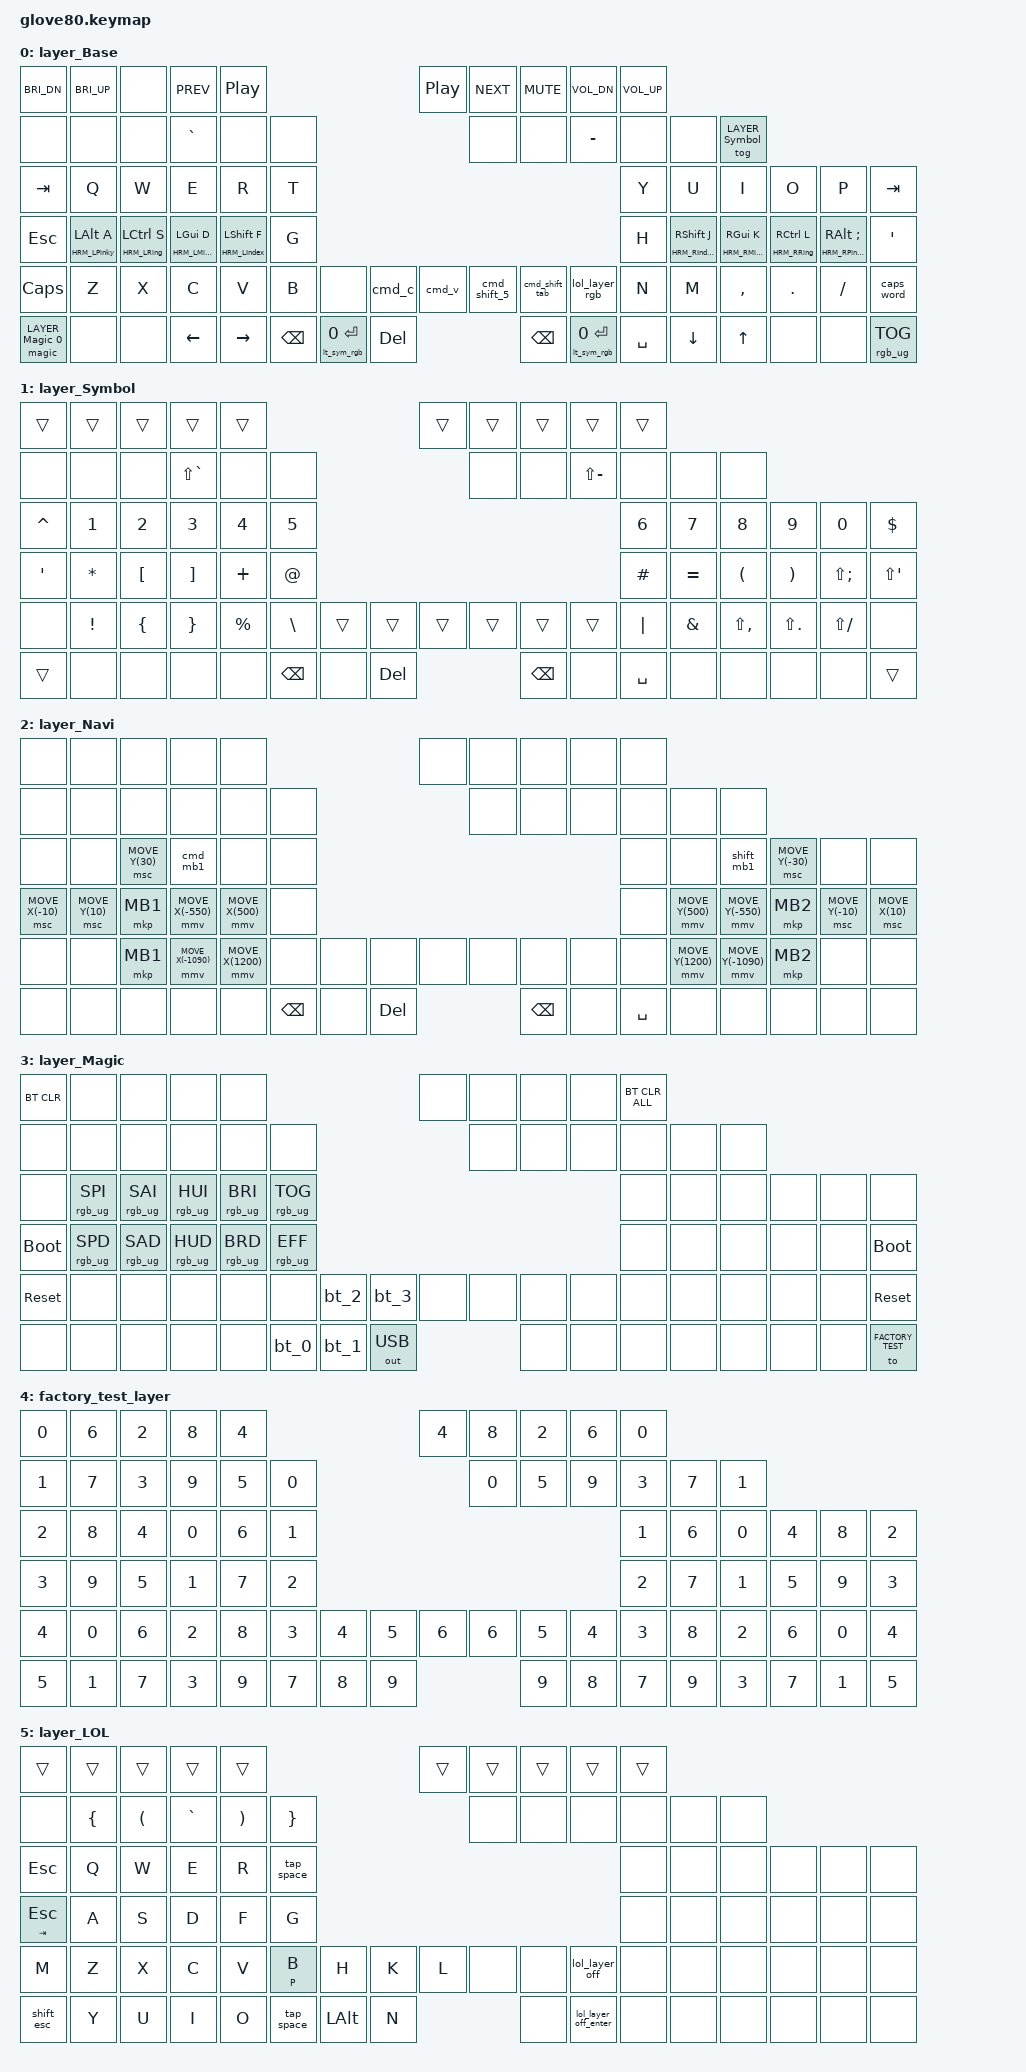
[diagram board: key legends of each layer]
/*
 * Copyright (c) 2020 The ZMK Contributors
 *
 * SPDX-License-Identifier: MIT
 */

#include <behaviors.dtsi>

#include <dt-bindings/zmk/bt.h>
#include <dt-bindings/zmk/ext_power.h>
#include <dt-bindings/zmk/keys.h>
#include <dt-bindings/zmk/outputs.h>
#include <dt-bindings/zmk/rgb.h>
#include <dt-bindings/zmk/pointing.h>

#include "glove80_keygroups.h"

// layers
#define LAYER_Base 0
#define LAYER_Symbol 1
#define LAYER_Navi 2
#define LAYER_Magic 3
#define FACTORY_TEST 4
#define LAYER_LOL 5

#include "glove80_macros.dtsi"
#include "glove80_behaviors.dtsi"

/ {
    combos {
        compatible = "zmk,combos";

        underscore_combo {
            timeout-ms = <81>;
            key-positions = <69 74>;
            bindings = <&kp UNDER>;
        };

        navigation_combo {
            timeout-ms = <2000>;
            key-positions = <70 73> ;
            bindings = <&navi_layer_rgb>;
        };
    };

    keymap {
        compatible = "zmk,keymap";

        layer_Base {
            bindings = <
            &kp C_BRI_DN       &kp C_BRI_UP   &none     &kp C_PREV   &kp C_PP                                                                            &kp C_PP   &kp C_NEXT  &kp C_MUTE      &kp C_VOL_DN   &kp C_VOL_UP
            &none  &none          &none     &kp GRAVE     &none      &none                                                                              &none       &none     &kp MINUS &none           &none          &tog LAYER_Symbol
            &kp TAB            &kp Q          &kp W     &kp E      &kp R        &kp T                                                                               &kp Y      &kp U       &kp I      &kp O           &kp P          &kp TAB
            &kp ESC            &HRM_LPinky LALT A  &HRM_LRing LCTRL S  &HRM_LMiddle LGUI D  &HRM_LIndex LSHFT F   &kp G                                             &kp H      &HRM_RIndex RSHFT J  &HRM_RMiddle RGUI K  &HRM_RRing RCTRL L  &HRM_RPinky RALT SEMI  &kp SQT
            &kp CAPS           &kp Z          &kp X     &kp C      &kp V        &kp B      &none   &cmd_c   &cmd_v     &cmd_shift_5   &cmd_shift_tab   &lol_layer_rgb                          &kp N      &kp M       &kp COMMA  &kp DOT         &kp FSLH       &caps_word
            &magic LAYER_Magic 0 &none      &none &kp LEFT    &kp RIGHT                     &kp BSPC  &lt_sym_rgb 0 RET  &kp DEL   &kp BSPC  &lt_sym_rgb 0 RET  &kp SPACE      &kp DOWN    &kp UP    &none  &none &rgb_ug RGB_TOG             >;
        };

        layer_Symbol {
            bindings = <
            &trans      &trans      &trans      &trans           &trans                                                                                                                 &trans            &trans      &trans      &trans      &trans
            &none     &none     &none     &kp LS(GRAVE)   &none       &none                                                                                       &none      &none           &kp LS(MINUS) &none  &none     &none
            &kp CARET  &kp N1     &kp N2     &kp N3          &kp N4       &kp N5                                                                                       &kp N6      &kp N7           &kp N8     &kp N9     &kp N0     &kp DLLR
            &kp SQT    &kp STAR   &kp LBKT   &kp RBKT        &kp PLUS     &kp AT                                                                                       &kp HASH    &kp EQUAL        &kp LPAR   &kp RPAR   &kp LS(SEMI) &kp LS(SQT)
            &none      &kp EXCL   &kp LBRC   &kp RBRC        &kp PRCNT    &kp BSLH   &trans   &trans   &trans      &trans   &trans   &trans                                  &kp PIPE    &kp AMPS         &kp LS(COMMA) &kp LS(DOT) &kp LS(FSLH) &none
            &trans      &none      &none      &none           &none                    &kp BSPC  &none  &kp DEL   &kp BSPC  &none  &kp SPACE                                         &none            &none      &none      &none      &trans
            >;
        };

        layer_Navi {
            bindings = <
            &none              &none            &none             &none                &none            &none              &none               &none            &none              &none
            &none             &none               &none              &none            &none             &none                &none        &none              &none               &none            &none              &none
            &none              &none            &msc MOVE_Y(30)   &cmd_mb1            &none           &none                                                                                       &none          &none              &shift_mb1          &msc MOVE_Y(-30) &none              &none
            &msc MOVE_X(-10)   &msc MOVE_Y(10)  &mkp MB1          &mmv MOVE_X(-550)   &mmv MOVE_X(500) &none                                                                                     &none          &mmv MOVE_Y(500)   &mmv MOVE_Y(-550)   &mkp MB2         &msc MOVE_Y(-10)   &msc MOVE_X(10)
            &none              &none            &mkp MB1          &mmv MOVE_X(-1090)  &mmv MOVE_X(1200) &none   &none   &none   &none      &none   &none   &none                                  &none          &mmv MOVE_Y(1200)  &mmv MOVE_Y(-1090)  &mkp MB2         &none              &none
            &none              &none            &none             &none               &none                    &kp BSPC  &none  &kp DEL   &kp BSPC  &none  &kp SPACE                                              &none              &none               &none            &none              &none
            >;
        };

        layer_Magic {
            bindings = <
            &bt BT_CLR        &none               &none           &none           &none                                                                                                           &none      &none      &none      &none      &bt BT_CLR_ALL
            &none             &none               &none           &none           &none           &none                                                                                &none      &none      &none      &none      &none      &none
            &none             &rgb_ug RGB_SPI     &rgb_ug RGB_SAI &rgb_ug RGB_HUI &rgb_ug RGB_BRI &rgb_ug RGB_TOG                                                                      &none      &none      &none      &none      &none      &none
            &bootloader       &rgb_ug RGB_SPD     &rgb_ug RGB_SAD &rgb_ug RGB_HUD &rgb_ug RGB_BRD &rgb_ug RGB_EFF                                                                      &none      &none      &none      &none      &none      &bootloader
            &sys_reset        &none               &none           &none           &none           &none           &bt_2     &bt_3     &none            &none     &none     &none       &none      &none      &none      &none      &none      &sys_reset
            &none             &none               &none           &none           &none                           &bt_0     &bt_1     &out OUT_USB     &none     &none     &none                  &none      &none      &none      &none      &to FACTORY_TEST
            >;
        };

        factory_test_layer {
            bindings = <
            &kp N0   &kp N6   &kp N2   &kp N8   &kp N4                                                                              &kp N4   &kp N8   &kp N2   &kp N6   &kp N0
            &kp N1   &kp N7   &kp N3   &kp N9   &kp N5   &kp N0                                                            &kp N0   &kp N5   &kp N9   &kp N3   &kp N7   &kp N1
            &kp N2   &kp N8   &kp N4   &kp N0   &kp N6   &kp N1                                                            &kp N1   &kp N6   &kp N0   &kp N4   &kp N8   &kp N2
            &kp N3   &kp N9   &kp N5   &kp N1   &kp N7   &kp N2                                                            &kp N2   &kp N7   &kp N1   &kp N5   &kp N9   &kp N3
            &kp N4   &kp N0   &kp N6   &kp N2   &kp N8   &kp N3   &kp N4   &kp N5   &kp N6      &kp N6   &kp N5   &kp N4   &kp N3   &kp N8   &kp N2   &kp N6   &kp N0   &kp N4
            &kp N5   &kp N1   &kp N7   &kp N3   &kp N9            &kp N7   &kp N8   &kp N9      &kp N9   &kp N8   &kp N7            &kp N9   &kp N3   &kp N7   &kp N1   &kp N5
            >;
        };

        layer_LOL {
            bindings = <
            &trans          &trans     &trans   &trans                                                                                   &trans    &trans          &trans   &trans   &trans   &trans
            &none  &kp LBRC          &kp LPAR     &kp GRAVE     &kp RPAR     &kp RBRC                                                                              &none       &none     &none &none           &none          &none

            &kp ESC         &kp Q    &kp W    &kp E    &kp R    &tap_space                                                                                    &none     &none           &none    &none    &none    &none
            &ht_lol_bp TAB ESC                        &kp A    &kp S    &kp D    &kp F    &kp G                                                                                    &none     &none           &none    &none    &none    &none
            &kp M       &kp Z    &kp X    &kp C    &kp V    &ht_lol_bp P B    &kp H   &kp K   &kp L      &none &none  &lol_layer_off                           &none     &none           &none    &none    &none    &none
            &shift_esc  &kp Y    &kp U    &kp I    &kp O           &tap_space &kp LALT &kp N  &none  &lol_layer_off_enter  &none                                            &none           &none    &none    &none    &none
            >;
        };
    };
};
